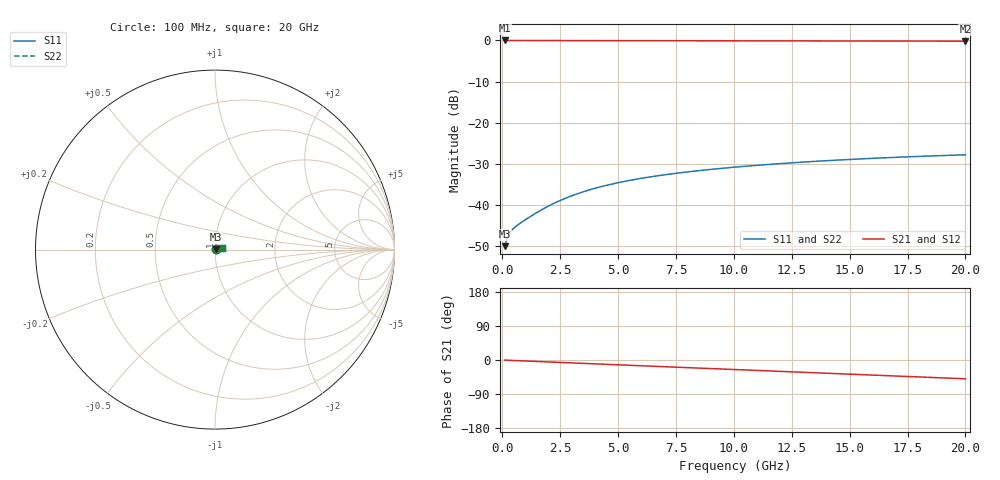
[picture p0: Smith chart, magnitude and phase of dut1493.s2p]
! Touchstone file exported from HFSS 2026.1.0
!  File:  C:/ffzhzh/LocalFiles/Ansys_Project_Files/temp_train_BSMRDL_1493_1783181562_51560.aedt
!  Generated:  12:14:10 AM Jul  5, 2026
!  Design:  BSMRDL
!  Project:  temp_train_BSMRDL_1493_1783181562_51560
! Variables:
!  h_bsmrdl = 4.36um
!  h_ox = 20um
!  h_rdl = 5um
!  h_sub = 80um
!  h_tmrdl = 5um
!  h_tsv = 80um
!  h_via = 3um
!  l_bsmrdl = 885.64um
!  l_sub = 1285.64um
!  l_tmrdl = 200um
!  m_sub = 200um
!  pitch = 33.56um
!  r_tsv = 6um
!  s_tmrdl = 10um
!  w_bsmrdl = 27.72um
!  w_sub = 500um
!  w_tmrdl = 12um
!  x_tsv_center1 = 206um
!  x_tsv_center2 = 1119.36um
!  x_tsv_center3 = 1331.36um
!  x_tsv_center4 = 2244.72um
!  x_tsv_center5 = 2456.72um
!  x_tsv_center6 = 3370.08um
# GHz S MA R 50.000000
! Terminal data exported
! Port[1] = BSM_RDL1_1_T1
! Port[2] = BSM_RDL1_1_T2
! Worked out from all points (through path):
!   200 points, 100 MHz to 20 GHz, reference 50 ohm
!   highest |S21| = -0.03 dB at 100 MHz (marker M1); lowest = -0.2 dB at 20 GHz (marker M2)
!   group delay of S21, straight-line fit = 6.86 ps
!   lowest |S11| = -50.0 dB at 100 MHz (marker M3), VSWR 1.01, Z = 50.3 + j0.107 ohm
!   |S11| at or under -10 dB: start of sweep to end of sweep
!   |S22| runs from -50.0 to -27.8 dB; largest |S21 - S12| = 1.7e-14
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0.1  0.003169 19.6  0.997 -0.3  0.997 -0.3  0.003169 19.6
! Gamma 0 0 0 0
! Port Impedance 50 0 50 0
0.2  0.003916 26.7  0.9965 -0.6  0.9965 -0.6  0.003916 26.7
0.3  0.004503 28.8  0.9961 -0.8  0.9961 -0.8  0.004504 28.8
0.4  0.004929 30.1  0.9958 -1.1  0.9958 -1.1  0.004929 30.1
0.5  0.005263 31.3  0.9956 -1.3  0.9956 -1.3  0.005263 31.3
0.6  0.005554 32.8  0.9954 -1.6  0.9954 -1.6  0.005554 32.8
0.8  0.006097 35.9  0.9952 -2.1  0.9952 -2.1  0.006098 35.9
1.5  0.008142 44.6  0.9946 -3.9  0.9946 -3.9  0.008143 44.6
2.1  0.01007 48.2  0.994 -5.4  0.994 -5.4  0.01007 48.1
2.4  0.01105 49.0  0.9936 -6.2  0.9936 -6.2  0.01105 49.0
2.8  0.01234 49.5  0.9932 -7.2  0.9932 -7.2  0.01234 49.5
3.5  0.01451 49.3  0.9923 -9.0  0.9923 -9.0  0.01452 49.2
4.2  0.01655 48.2  0.9913 -10.7  0.9913 -10.7  0.01656 48.2
5  0.01869 46.6  0.9902 -12.7  0.9902 -12.7  0.0187 46.5
5.8  0.02065 44.7  0.9892 -14.7  0.9892 -14.7  0.02067 44.6
6.8  0.02288 42.3  0.988 -17.2  0.988 -17.2  0.0229 42.2
8.3  0.02585 38.8  0.9864 -20.9  0.9864 -20.9  0.02588 38.7
10.1  0.02898 34.7  0.9847 -25.4  0.9847 -25.4  0.02902 34.6
11.7  0.03145 31.2  0.9834 -29.3  0.9834 -29.3  0.0315 31.0
13.4  0.03381 27.5  0.9821 -33.5  0.9821 -33.5  0.03387 27.2
16.7  0.03771 20.3  0.9799 -41.5  0.9799 -41.5  0.0378 20.0
20  0.04076 13.1  0.9779 -49.6  0.9779 -49.6  0.04088 12.6
